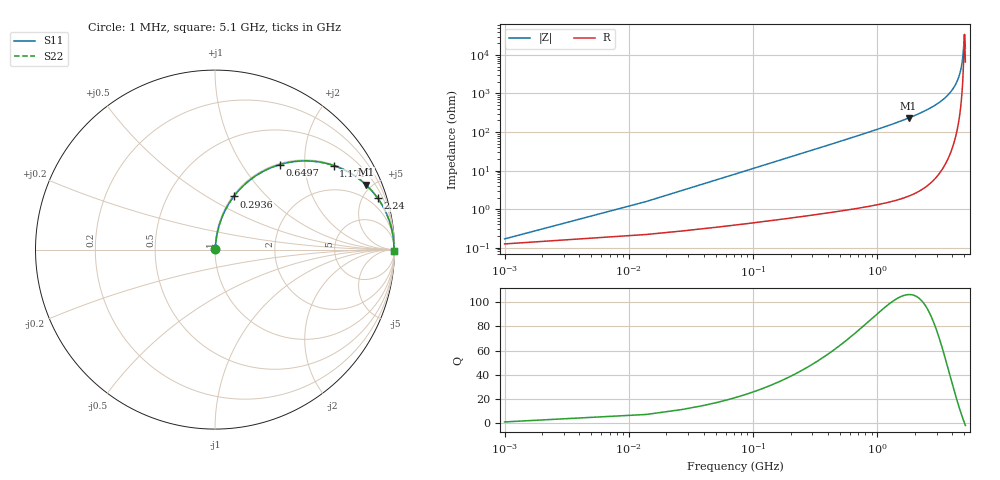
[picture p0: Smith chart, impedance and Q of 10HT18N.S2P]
! Coilcraft 1008HT-18N Chip Inductor
! 16 July 2002
# MHZ S MA R 50
!Freq  MagS11  AngS11  MagS21  AngS21  MagS12  AngS12  MagS22  AngS22
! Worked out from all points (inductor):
!   402 points, 1 MHz to 5.1 GHz, reference 50 ohm
!   read as one part in series: L = 18 nH near 26.44 MHz
!   highest Q = 106 at 1.782 GHz (marker M1), where L = 20.6 nH
!   self-resonance near 5.013 GHz
!   S11 on the Smith chart (normalised r, x): 1 MHz: 1.00, +0.00; 293.6 MHz: 1.01, +0.67; 649.7 MHz: 1.02, +1.49; 1.171 GHz: 1.03, +2.80; 2.24 GHz: 1.06, +6.33; 5.1 GHz: open
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1  0.001683 42.1  0.9988 -0.1  0.9988 -0.1  0.001683 42.1
39.16  0.04422 83.5  0.996 -2.5  0.996 -2.5  0.04422 83.5
51.88  0.05848 83.3  0.9949 -3.3  0.9949 -3.3  0.05848 83.3
77.32  0.08688 82.4  0.9923 -5.0  0.9923 -5.0  0.08688 82.4
166.36  0.1842 77.7  0.9776 -10.6  0.9776 -10.6  0.1842 77.7
293.56  0.3142 70.5  0.9429 -18.3  0.9429 -18.3  0.3142 70.5
446.2  0.4504 62.3  0.8854 -26.8  0.8854 -26.8  0.4504 62.3
649.72  0.5948 52.7  0.7958 -36.5  0.7958 -36.5  0.5948 52.7
853.24  0.7008 44.8  0.7051 -44.5  0.7051 -44.5  0.7008 44.8
1171.24  0.81 35.3  0.5781 -54.1  0.5781 -54.1  0.81 35.3
1705.48  0.9058 24.5  0.4152 -64.9  0.4152 -64.9  0.9058 24.5
1781.8  0.9144 23.4  0.3964 -66.1  0.3964 -66.1  0.9144 23.4
2239.72  0.9509 17.5  0.3004 -72.0  0.3004 -72.0  0.9509 17.5
2557.72  0.9664 14.3  0.2471 -75.1  0.2471 -75.1  0.9664 14.3
3409.96  0.9881 7.9  0.1377 -81.1  0.1377 -81.1  0.9881 7.9
4262.2  0.9958 3.3  0.05731 -84.2  0.05731 -84.2  0.9958 3.3
4554.76  0.9968 1.9  0.03387 -83.5  0.03387 -83.5  0.9968 1.9
4758.28  0.997 1.1  0.01857 -80.3  0.01857 -80.3  0.997 1.1
4885.48  0.9971 0.5  0.009519 -72.0  0.009519 -72.0  0.9971 0.5
4999.96  0.9971 0.1  0.003074 -17.6  0.003074 -17.6  0.9971 0.1
5038.12  0.997 -0.1  0.003428 30.4  0.003428 30.4  0.997 -0.1
5100  0.997 -0.3  0.006735 63.3  0.006735 63.3  0.997 -0.3
